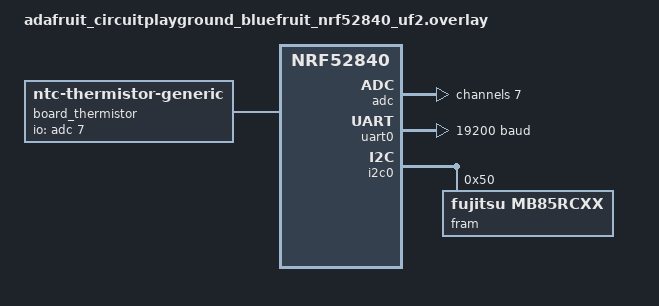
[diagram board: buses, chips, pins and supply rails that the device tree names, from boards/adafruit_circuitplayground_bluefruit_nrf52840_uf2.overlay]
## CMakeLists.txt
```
cmake_minimum_required(VERSION 3.20.0)

find_package(Zephyr REQUIRED HINTS $ENV{ZEPHYR_BASE})
project(silversat_fsw LANGUAGES C)

target_sources(app PRIVATE src/main.c)
```

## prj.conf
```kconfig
CONFIG_LOG=y
CONFIG_LOG_MODE_IMMEDIATE=y

# The main thread runs the FRAM service's start and health's boot handling
# (SYS_INIT), which read and write FRAM before any app's thread starts. A
# FRAM write through the SPI driver needs more than the 1 KB default: with
# the flatsat's FRAM fitted, 1 KB overflowed at boot. App stacks are in
# include/silversat/resource_map.h (DS-07); this one is Zephyr's.
CONFIG_MAIN_STACK_SIZE=2048

CONFIG_SPI=y

# Useful while developing; revisit before anything flies.
CONFIG_ASSERT=y
CONFIG_THREAD_NAME=y

# Flight software apps (DS-10). The frame manager drives the rest.
CONFIG_SS_MESSAGES=y
CONFIG_SS_FRAME_MANAGER=y
CONFIG_SS_COMMAND_INGEST=y
CONFIG_SS_RADIO=y
CONFIG_SS_TELEMETRY_OUTPUT=y
CONFIG_SS_MODE_MANAGER=y
CONFIG_SS_HEALTH=y
CONFIG_SS_TEMPERATURE=y

# The FRAM service (DS-70). With no fram alias (the Nucleo, until a part is
# chosen), every record reads as its default (DS-75).
CONFIG_SS_NVM=y
CONFIG_SS_NVM_APP=y
```

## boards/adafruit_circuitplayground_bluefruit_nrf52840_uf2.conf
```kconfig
# Circuit Playground Bluefruit settings for the flight application.

# Deferred logging: the console is USB serial. An image with prj.conf's
# immediate logging, and a second USB serial port, ran but never appeared on
# USB (2026-11-08); this setting, with one port, does.
CONFIG_LOG_MODE_IMMEDIATE=n
CONFIG_LOG_MODE_DEFERRED=y
```

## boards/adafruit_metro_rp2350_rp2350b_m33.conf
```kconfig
# Adafruit Metro RP2350 settings for the flight application.

# Deferred logging: the console is USB serial, as on the Circuit Playground.
CONFIG_LOG_MODE_IMMEDIATE=n
CONFIG_LOG_MODE_DEFERRED=y

# The only temperature sensor on the board is the one inside the chip (DS-30).
CONFIG_SS_TEMPERATURE_CHIP=y
```

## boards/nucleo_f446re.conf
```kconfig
# Nucleo-F446RE settings for the flight application.

# The FRAM service's mirror is a retained-RAM device on the backup SRAM
# (nucleo_f446re.overlay). It must start after Zephyr's STM32 driver has
# switched the backup SRAM on, whose priority is
# CONFIG_STM32_BACKUP_SRAM_INIT_PRIORITY (90, the default); Zephyr's
# start-up order check fails the build otherwise.
CONFIG_RETAINED_MEM_INIT_PRIORITY=91

# Keep the debug port alive while the CPU sleeps. Zephyr's idle thread
# sleeps (WFI) whenever no app is running, which is most of the time, and
# with this off the ST-LINK can't attach without resetting the board, so
# `make debug` on the flatsat is refused (DS-04). It costs a little power
# in sleep, which doesn't matter on the Nucleo.
CONFIG_STM32_ENABLE_DEBUG_SLEEP_STOP=y
```

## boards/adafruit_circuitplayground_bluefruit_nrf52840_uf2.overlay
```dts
/*
 * Application overlay for the Circuit Playground Bluefruit, the student
 * learning and exploration tier (DS-04, docs/cpb.md).
 *
 * The console is the board's USB serial port. The radio UART is on the TX
 * and RX pads, at SilverSat's 19200 baud: Zephyr's automatic USB setup
 * registers only one serial port, so it can't go over USB yet.
 *
 * The nRF52840 has no backup SRAM, so there is no nvm-mirror alias (DS-75):
 * with the FRAM fitted every record survives; without it none do.
 */

#include <zephyr/dt-bindings/adc/adc.h>
#include <zephyr/dt-bindings/adc/nrf-saadc.h>

/ {
	aliases {
		radio-uart = &uart0;
		/* The slide switch selects test mode, read once at boot (DS-42). */
		test-mode-signal = &slide_switch;
		/* The FRAM (DS-70), on i2c0 below. */
		fram = &fram;
		/* The on-board thermistor (DS-30). */
		temperature-sensor = &board_thermistor;
	};

	/*
	 * Thermistor to the supply, a 10 kOhm resistor to ground, and the ADC
	 * between them, on A9 (P0.31, AIN7). The table is for 10 kOhm at 25 C
	 * and a beta of 3950, the values Adafruit's own library uses, from
	 * Zephyr's scripts/utils/ntc_thermistor_table.py.
	 */
	board_thermistor: board-thermistor {
		compatible = "ntc-thermistor-generic";
		io-channels = <&adc 7>;
		pullup-ohm = <0>;
		pulldown-ohm = <10000>;
		connected-positive;
		zephyr,compensation-table = <(-25) 144316>, <(-15) 77898>, <(-5) 44026>,
					    <(5) 25924>, <(15) 15837>, <(25) 10000>,
					    <(35) 6505>, <(45) 4348>, <(55) 2978>,
					    <(65) 2086>, <(75) 1491>, <(85) 1086>,
					    <(95) 805>, <(105) 606>, <(115) 463>, <(125) 358>;
	};
};

/*
 * VDD/4 with a gain of 1/4 makes the ADC's full scale the supply, which the
 * thermistor's divider is ratioed against, so the supply's exact voltage
 * cancels out.
 */
&adc {
	#address-cells = <1>;
	#size-cells = <0>;

	channel@7 {
		reg = <7>;
		zephyr,gain = "ADC_GAIN_1_4";
		zephyr,reference = "ADC_REF_VDD_1_4";
		zephyr,acquisition-time = <ADC_ACQ_TIME_DEFAULT>;
		zephyr,input-positive = <NRF_SAADC_AIN7>;
		zephyr,resolution = <12>;
	};
};

&uart0 {
	current-speed = <19200>;
};

/* Neither board is documented as having pull-ups on these lines. */
&i2c0_default {
	group1 {
		bias-pull-up;
	};
};

/*
 * A 32 KB Fujitsu MB85RC256V on an Adafruit breakout (ID 1895), on the A4
 * (SCL) and A5 (SDA) pads. A part for learning, not the flight choice (DS-70).
 */
&i2c0 {
	fram: fram@50 {
		compatible = "fujitsu,mb85rcxx";
		reg = <0x50>;
		size = <32768>;
		pagesize = <32768>;
		address-width = <16>;
	};
};
```

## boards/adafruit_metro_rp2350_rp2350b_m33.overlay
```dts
/*
 * Application overlay for the Adafruit Metro RP2350, a board in the student
 * learning and exploration tier (DS-04, docs/metro-rp2350.md).
 *
 * The console is the board's USB serial port. The radio UART is on D0 and
 * D1, at SilverSat's 19200 baud.
 *
 * There is no nvm-mirror alias (DS-75): with the FRAM fitted every record
 * survives; without it none do.
 */

/ {
	aliases {
		radio-uart = &uart0;
		/* D2 held to ground selects test mode, read once at boot (DS-42). */
		test-mode-signal = &test_mode_signal;
		/* The FRAM (DS-70), on i2c0 below. */
		fram = &fram;
		/* The sensor inside the RP2350 (DS-30). */
		temperature-sensor = &die_temp;
	};

	test_mode_signal: test-mode-signal {
		compatible = "silversat,test-mode-signal";
		gpios = <&gpio0 2 (GPIO_PULL_UP | GPIO_ACTIVE_LOW)>;
	};
};

/*
 * Link the code at the start of flash. Zephyr's RP2350 UF2 output starts at
 * the base of flash, but this board reserves the first 0x100 bytes, so its
 * images land 0x100 too low and never start.
 */
/delete-node/ &image_def;
/delete-node/ &code_partition;

&flash0 {
	partitions {
		code_partition: partition@0 {
			label = "code-partition";
			reg = <0x0 DT_SIZE_M(16)>;
			read-only;
		};
	};
};

/*
 * The Pico SDK's crystal start-up setting for this board. We have not tested
 * whether the board needs it.
 */
&xosc {
	startup-delay-multiplier = <64>;
};

/* The board leaves the watchdog off. Health feeds it (DS-43). */
&wdt0 {
	status = "okay";
};

&die_temp {
	status = "okay";
};

&uart0 {
	current-speed = <19200>;
};

/*
 * The controller reads SCL back, so that pin needs its input on: without it
 * every FRAM transfer timed out (-116). The board's definition enables only
 * SDA's. The pull-ups cover a breakout that lacks its own.
 */
&i2c0_default {
	group1 {
		bias-pull-up;
	};
	group2 {
		input-enable;
		bias-pull-up;
	};
};

/*
 * A 32 KB Fujitsu MB85RC256V on an Adafruit breakout (ID 1895), on the
 * Stemma QT connector. A part for learning, not the flight choice (DS-70).
 */
&i2c0 {
	fram: fram@50 {
		compatible = "fujitsu,mb85rcxx";
		reg = <0x50>;
		size = <32768>;
		pagesize = <32768>;
		address-width = <16>;
	};
};
```

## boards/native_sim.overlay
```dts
/*
 * Application overlay for native_sim.
 *
 * The radio's UART (DS-07, DS-90) is uart1, which native_sim connects to a
 * pseudo-terminal. A Python simulator opens the PTY and plays the radio;
 * native_sim prints the PTY's path at startup ("uart_1 connected to
 * pseudotty: /dev/pts/N").
 *
 * When the magnetometer driver lands, this also gains an emulated SPI bus
 * with a mag node on it -- see tests/drivers/mag/app.overlay for the shape.
 */

/ {
	aliases {
		radio-uart = &uart1;
		test-mode-signal = &test_mode_signal;
		/*
		 * The FRAM (DS-70) is the board's simulated EEPROM, kept in a
		 * file (eeprom.bin), so records survive between runs.
		 */
		fram = &eeprom0;
	};

	/*
	 * The test signal (DS-42) is an emulated GPIO pin, active low. An
	 * emulated input reads low until something drives it, so the signal is
	 * present: `make run` boots into test mode, with the radio and command
	 * ingest running, instead of waiting out the separation delay.
	 */
	test_mode_signal: test-mode-signal {
		compatible = "silversat,test-mode-signal";
		gpios = <&gpio0 1 GPIO_ACTIVE_LOW>;
	};
};

&uart1 {
	status = "okay";
};
```

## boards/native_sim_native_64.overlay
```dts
/*
 * Application overlay for native_sim/native/64. Zephyr looks for an overlay
 * named after the full board target, so this one exists only to use the
 * same overlay as 32-bit native_sim.
 */

#include "native_sim.overlay"
```

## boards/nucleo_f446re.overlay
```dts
/*
 * Application overlay for the Nucleo-F446RE flatsat target.
 *
 * The radio's UART (DS-07) is usart1 on PA9 (TX, Arduino D8) and PA10 (RX,
 * Arduino D2), at SilverSat 1's 19200 baud. The board's default PB6/PB7
 * pins are not used, because PB6 is reserved below for the magnetometer's
 * chip select. To be confirmed by the five-UART pin-mux check.
 *
 * The magnetometer PR adds a second chip select and device to spi1 below:
 *
 *           cs-gpios = <&gpioc 7 GPIO_ACTIVE_LOW>, <&gpiob 6 GPIO_ACTIVE_LOW>;
 *
 *           mag: mag@1 {
 *                   compatible = "silversat,mag";
 *                   reg = <1>;
 *                   spi-max-frequency = <10000000>;
 *           };
 *
 * Note that the node label (`mag`) matches the one used in the native_sim
 * overlay. That is what lets the same driver code and the same tests run
 * against both, with no #ifdef anywhere.
 */

/ {
	aliases {
		radio-uart = &usart1;
		/*
		 * The test signal (DS-42): hold the blue user button (B1, PC13)
		 * while the board resets to boot into test mode. A stand-in
		 * until the real external signal is chosen.
		 */
		test-mode-signal = &user_button;
		/* The hardware watchdog, fed only by health (DS-43). */
		watchdog0 = &iwdg;
		/* The FRAM (DS-70), on spi1 below. */
		fram = &fram;
		/* The FRAM service's mirror (DS-75): the 4 KB backup SRAM. */
		nvm-mirror = &backup_retained;
	};
};

/*
 * The FRAM: an 8 KB Fujitsu MB85RS64V on an Adafruit breakout, wired to the
 * flatsat (docs/flatsat.md). A part for testing, not the flight choice,
 * which is still to be made (DS-70). Zephyr's Infineon FM25 driver runs it:
 * the commands are the same, and it picks 2-byte addresses from the size.
 * (Zephyr's Fujitsu MB85RS driver accepts only the 2 Mbit parts.)
 *
 * A Nucleo without the breakout still runs: the driver can't tell nothing
 * is there, but the FRAM service reads back every write, so the first one
 * fails and the service carries on with the mirror alone (DS-75). Its
 * housekeeping then shows fram_available false and one error.
 */
&spi1 {
	/* No hardware NSS (PA4): each device has its own GPIO chip select. */
	pinctrl-0 = <&spi1_sck_pa5 &spi1_miso_pa6 &spi1_mosi_pa7>;
	cs-gpios = <&gpioc 7 GPIO_ACTIVE_LOW>; /* D9 */
	status = "okay";

	fram: fram@0 {
		compatible = "infineon,fm25xxx";
		reg = <0>;
		/* The part runs to 20 MHz; slow, for jumper wires. */
		spi-max-frequency = <1000000>;
		size = <8192>;
	};
};

/*
 * The backup SRAM keeps its contents through a reset, and through a loss of
 * main power if VBAT is supplied. Zephyr's STM32 driver switches it on at
 * boot; a retained-RAM device on top gives the FRAM service its retained
 * memory API.
 */
&backup_sram {
	status = "okay";

	backup_retained: retainedmem {
		compatible = "zephyr,retained-ram";
		status = "okay";
	};
};

&iwdg {
	status = "okay";
};

&usart1 {
	pinctrl-0 = <&usart1_tx_pa9 &usart1_rx_pa10>;
	pinctrl-names = "default";
	current-speed = <19200>;
	status = "okay";
};
```

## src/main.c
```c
/*
 * SilverSat flight software -- application entry point.
 *
 * SPDX-License-Identifier: Apache-2.0
 *
 * Deliberately minimal. Keep this file boring: it should do nothing but
 * start the subsystems that live under drivers/ and lib/. Logic that is
 * worth testing does not belong here, because main() is the one place
 * twister cannot reach.
 */

#include <zephyr/kernel.h>
#include <zephyr/logging/log.h>

LOG_MODULE_REGISTER(silversat, LOG_LEVEL_INF);

int main(void)
{
	LOG_INF("SilverSat FSW starting on %s", CONFIG_BOARD_TARGET);

	while (1) {
		k_sleep(K_SECONDS(10));
		LOG_INF("alive");
	}

	return 0;
}
```
